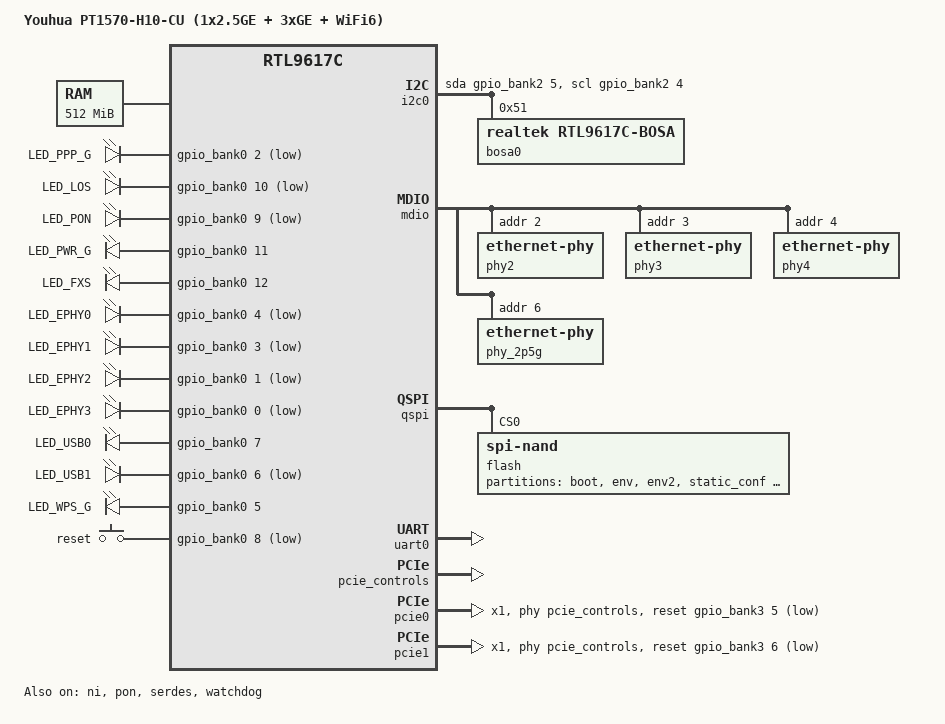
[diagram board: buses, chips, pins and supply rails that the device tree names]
// SPDX-License-Identifier: GPL-2.0-only
//
// PT1570-H10-CU（联通版，机型串 PT1570-H10-C）板级 DTS —— Taurus 基线（2026-11-21）。
//
// 本文件基于上游 lyq1996/rtl9617c-openwrt @refactor Taurus 基线的
// rtl9617c-pt1500-h10-2p5g.dts，按 OpenWrt / 上游规范重写，摒弃旧 base
// 的 rtl9617c-tyfza1-2p5g.dts include 与 tyfza1 私有覆盖模型。
//
// 硬件事实（2026-11-14/15 真机 telnet + 原厂 mtd4 内嵌 DTB 逐节点核对）：
//   * RTL9617C / 256 MiB SPI-NAND / 512 MiB DDR4
//   * 1x2.5GE + 3xGE LAN：外置 RTL8221B 2.5G PHY（MDIO addr6, C22 001cc849）
//   * 双 PCIe WiFi6： PCIe0 10ec:c852（8852C, 5G）/ PCIe1 10ec:0192（8192XB, 2.4G）
//   * XGPON（WAN PPPoE VLAN 1101）
//   * flash 分区与上游 2p5g 基线逐项一致
//
// ★ refactor 基线的两点规范变化（相对旧 base DTS）：
//   1) 节点命名：&ni（非 &ni0）、&gpio0 扁平化、P6 走独立 &serdes
//      （phy-rtl9617c-serdes.c）+ phy-mode=2500base-x + realtek,hisgmii；
//      上游已验证此架构 2.5G 可用，摒弃 base 的 realtek,hsgmii + /etc/serdes/*.txt。
//   2) factory：DTS 内 ubi-volume-factory 的 nvmem-layout 声明 MAC/SN/wifi-cal，
//      驱动直读；摒弃旧 tyfza1-factory 运行时脚本模型。
//
// ★ WiFi 是净投入（refactor 上游主动删了 rtl9617c 的整个 PCIe/WiFi 子系统）：
//   PCIe 控制器节点在本文件 &{/soc} 自建（照 base dtsi 逐项校验地址/serdes/复位脚），
//   驱动由 scripts/refactor/overlay-wifi-pcie.sh 回移植到规范位置（OOT，不换上游 Taurus PCIe）。
//   ★ 2026-11-21 跟进 Taurus：SoC 层切 rtk-taurus.dtsi + gpio_bank0/2/3；
//     PCIe/global_config 仍用回移植资产，避免上游新 pcie-taurus.c 需要全套 reset/serdes 绑定。
//   ⚠️ 实机验证点：&serdes（2.5G P6 lane）与 pcie_controls（PCIe lane0/1/2）
//      共用 lane-ctrl/reset/power 等寄存器窗口，两套驱动按 bit 操作不同 lane，
//      理论上可共存；若实机出现 2.5G 与 WiFi 互相干扰，按实施记录的可回退方案处理。

/dts-v1/;

#include "rtk-taurus.dtsi"
#include <dt-bindings/gpio/gpio.h>
#include <dt-bindings/input/linux-event-codes.h>

/ {
	model = "Youhua PT1570-H10-CU (1x2.5GE + 3xGE + WiFi6)";
	compatible = "youhua,pt1570-h10-cu", "realtek,rtl9617c";

	aliases {
		serial0 = &uart0;
		led-boot = &led_power;
		led-failsafe = &led_power;
		led-running = &led_power;
		led-upgrade = &led_power;
	};

	chosen {
		stdout-path = "serial0:115200n8";
		bootargs = "earlycon console=ttyS0,115200n8 loglevel=7 clk_ignore_unused";
		rootdisk = <&ubi_rootdisk>;
		// ⛔ 不写 root= 覆盖：刷入态挂根由内核 CONFIG_MTD_ROOTFS_ROOT_DEV + fitblk 完成。
	};

	memory@0 {
		device_type = "memory";
		reg = <0 0 0 0x20000000>;
	};

	reserved-memory {
		#address-cells = <2>;
		#size-cells = <2>;
		ranges;

		voip-vector@0 {
			reg = <0 0 0 0x1000>;
			no-map;
		};
		voip@2000000 {
			reg = <0 0x02000000 0 0x00300000>;
			no-map;
		};
		voip-ipc@2300000 {
			reg = <0 0x02300000 0 0x00100000>;
			no-map;
		};
		ddr-noncache@9000000 {
			reg = <0 0x09000000 0 0x01a50000>;
		};
		ddr-cache@bc48000 {
			reg = <0 0x0bc48000 0 0x10000>;
		};
		tz-smc@eeff000 {
			reg = <0 0x0eeff000 0 0x1000>;
			no-map;
		};
		tz@ffc0000 {
			reg = <0 0x0ffc0000 0 0x40000>;
		};
	};

	// 面板灯：逐脚取自联通原厂 mtd4 内嵌 DTB 的 rtk_gpio_led 节点，
	// 并与 U-Boot run#5 灯表同源。面板左→右：
	//   电源(11H) 注册(9L) 光信号(10L) [5G] [2.4G]
	//   千兆口4(0L) 千兆口3(1L) 千兆口2(3L) 2.5G口(4L)
	//   电话(12H) 宽带(2L) WPS(5H) USB(7H) USB1(6L)
	// 5G/2.4G/WPS 由 PCIe WiFi / 按钮驱动接管，固件不强行点灯。
	leds {
		compatible = "gpio-leds";

		internet {
			label = "LED_PPP_G";
			gpios = <&gpio_bank0 2 GPIO_ACTIVE_LOW>;
			default-state = "off";
		};
		los {
			label = "LED_LOS";
			gpios = <&gpio_bank0 10 GPIO_ACTIVE_LOW>;
		};
		pon {
			label = "LED_PON";
			gpios = <&gpio_bank0 9 GPIO_ACTIVE_LOW>;
		};
		led_power: power {
			label = "LED_PWR_G";
			gpios = <&gpio_bank0 11 GPIO_ACTIVE_HIGH>;
			default-state = "on";
		};
		phone {
			label = "LED_FXS";
			gpios = <&gpio_bank0 12 GPIO_ACTIVE_HIGH>;
		};
		lan0 {
			label = "LED_EPHY0";
			gpios = <&gpio_bank0 4 GPIO_ACTIVE_LOW>;   /* 2.5G 口，PHY 硬件驱动可长灭 */
		};
		lan1 {
			label = "LED_EPHY1";
			gpios = <&gpio_bank0 3 GPIO_ACTIVE_LOW>;   /* 千兆口2 */
		};
		lan2 {
			label = "LED_EPHY2";
			gpios = <&gpio_bank0 1 GPIO_ACTIVE_LOW>;   /* 千兆口3 */
		};
		lan3 {
			label = "LED_EPHY3";
			gpios = <&gpio_bank0 0 GPIO_ACTIVE_LOW>;   /* 千兆口4 */
		};
		usb0 {
			label = "LED_USB0";
			gpios = <&gpio_bank0 7 GPIO_ACTIVE_HIGH>;
			linux,default-trigger = "usbport";
		};
		usb1 {
			label = "LED_USB1";
			gpios = <&gpio_bank0 6 GPIO_ACTIVE_LOW>;
		};
		wps {
			label = "LED_WPS_G";
			gpios = <&gpio_bank0 5 GPIO_ACTIVE_HIGH>;
		};
	};

	gpio-keys {
		compatible = "gpio-keys";

		reset {
			label = "reset";
			linux,code = <KEY_RESTART>;
			gpios = <&gpio_bank0 8 GPIO_ACTIVE_LOW>;
			debounce-interval = <60>;
		};
	};
};

&gpio0 {
	status = "okay";
};

&i2c0 {
	status = "okay";
	scl-gpios = <&gpio_bank2 4 GPIO_ACTIVE_HIGH>;
	sda-gpios = <&gpio_bank2 5 GPIO_ACTIVE_HIGH>;

	bosa0: optical-front-end@51 {
		compatible = "realtek,rtl9617c-bosa";
		reg = <0x51>;
		nvmem-cells = <&bosa_calibration>;
		nvmem-cell-names = "calibration";
	};
};

&mdio {
	status = "okay";

	phy2: ethernet-phy@2 { reg = <2>; };
	phy3: ethernet-phy@3 { reg = <3>; };
	phy4: ethernet-phy@4 { reg = <4>; };

	// 外置 RTL8221B 2.5G PHY：MDIO addr6 C22。refactor 用 HisGMII +
	// serdes-option-mode=1（对齐上游 PT1500 已实机验证的 2.5G 正解架构）。
	phy_2p5g: ethernet-phy@6 {
		reg = <6>;
		realtek,hisgmii;
		realtek,serdes-option-mode = <1>;

		leds {
			#address-cells = <1>;
			#size-cells = <0>;

			led@0 {
				reg = <0>;
				label = "LED_8221B_P6_0";
				default-state = "on";
			};
			led@1 {
				reg = <1>;
				label = "LED_8221B_P6_1";
				default-state = "on";
			};
			led@2 {
				reg = <2>;
				label = "LED_8221B_P6_2";
				default-state = "on";
			};
		};
	};
};

&ni {
	nvmem-cells = <&base_mac 0>;
	nvmem-cell-names = "mac-address";
	status = "okay";

	ethernet-ports {
		port@1 {
			reg = <1>;
			label = "lan2";
			phy-mode = "internal";
			phy-handle = <&phy2>;
		};
		port@2 {
			reg = <2>;
			label = "lan3";
			phy-mode = "internal";
			phy-handle = <&phy3>;
		};
		port@3 {
			reg = <3>;
			label = "lan4";
			phy-mode = "internal";
			phy-handle = <&phy4>;
		};
		// P6 XGE MAC = 2.5G 口（netdev lan1），独立 serdes PHY。
		port@6 {
			reg = <6>;
			label = "lan1";
			phy-mode = "2500base-x";
			phy-handle = <&phy_2p5g>;
			phys = <&serdes>;
		};
	};
};

&pon {
	status = "okay";
	nvmem-cells = <&epon_mac 0>, <&pon_sn>;
	nvmem-cell-names = "mac-address", "pon-serial";
	realtek,optical-front-end = <&bosa0>;
	tx-disable-gpios = <&gpio_bank0 15 GPIO_ACTIVE_HIGH>;
	realtek,burst-polarity = <0>;
	realtek,los-invert = <0>;
	realtek,uni-ports = /bits/ 8 <3 2 1 0>;
};

&qspi {
	status = "okay";

	flash@0 {
		compatible = "spi-nand";
		reg = <0>;
		spi-tx-bus-width = <1>;
		spi-rx-bus-width = <4>;

		partitions {
			compatible = "fixed-partitions";
			#address-cells = <1>;
			#size-cells = <1>;

			partition@0 {
				label = "boot";
				reg = <0x0 0x200000>;
				read-only;
			};
			partition@280000 {
				label = "env";
				reg = <0x280000 0x40000>;
			};
			partition@2c0000 {
				label = "env2";
				reg = <0x2c0000 0x40000>;
			};
			partition@300000 {
				label = "static_conf";
				reg = <0x300000 0x40000>;
			};

			ubi_partition: partition@340000 {
				label = "ubi_device";
				reg = <0x340000 0xf5c0000>;
				compatible = "linux,ubi";
				// ⛔ 不可 read-only：否则 UBI 只读 attach、rootfs_data 建不出
				// overlay，sysupgrade 刷入态黑砖（旧 CU 第二版实测踩过）。
				// refactor 上游 dtsi 已不给 ubi 分区标 read-only，无需覆盖。

				volumes {
					ubi_rootdisk: ubi-volume-fit {
						volname = "fit";
					};

					ubi_factory: ubi-volume-factory {
						volname = "factory";

						nvmem-layout {
							compatible = "fixed-layout";
							#address-cells = <1>;
							#size-cells = <1>;

							base_mac: mac-address@1000 {
								compatible = "mac-base";
								reg = <0x1000 0x6>;
								#nvmem-cell-cells = <1>;
							};

							mac_count: mac-count@1006 {
								reg = <0x1006 0x4>;
							};

							epon_mac: mac-address@1010 {
								compatible = "mac-base";
								reg = <0x1010 0x6>;
								#nvmem-cell-cells = <1>;
							};

							pon_sn: pon-serial@1020 {
								reg = <0x1020 0x10>;
							};

							device_sn: device-serial@1030 {
								reg = <0x1030 0x20>;
							};

							wifi_cal_radio0: wifi-calibration@2000 {
								reg = <0x2000 0x1000>;
							};

							wifi_cal_radio1: wifi-calibration@3000 {
								reg = <0x3000 0x1000>;
							};

							bosa_calibration: bosa-calibration@4000 {
								reg = <0x4000 0x400>;
							};

							bosa_olt_calibration: olt-calibration@4800 {
								reg = <0x4800 0x400>;
							};

							xtemp_calibration: xtemp-calibration@5000 {
								reg = <0x5000 0x1000>;
							};
						};
					};
				};
			};
		};
	};
};

&serdes {
	status = "okay";
};

&uart0 {
	status = "okay";
};

&watchdog {
	reset-on-timeout;
	delay-reset = <134>;
	status = "okay";
};

// ---------------------------------------------------------------------------
// PCIe 控制器（WiFi 回移植）—— refactor dtsi 无 PCIe 节点，照 base dtsi
// 的 rtl9617c-tyfza1.dtsi 逐项重建。pcie_controls 的 reg 全保留（驱动按
// by-name ioremap，缺项会 probe 失败）；与 &serdes 重叠的 lane 控制寄存器
// 由两套驱动按 bit 操作不同 lane，实机验证共存性。
// ---------------------------------------------------------------------------
&{/soc} {
	// Taurus dtsi 删除了 rtl9617c 的 global_config syscon；
	// 我们回移植的 OOT PCIe PHY（phy-rtl9617c-pcie.c）仍按 phandle 读取它，补回。
	global_config: syscon@f43200c0 {
		compatible = "realtek,rtl9617c-global-config", "syscon";
		reg = <0 0xf43200c0 0 4>;
	};
	pcie_controls: pcie-controls@f4320098 {
		compatible = "realtek,rtl9617c-pcie-controls";
		reg = <0 0xf4320098 0 4>, <0 0xf43200a0 0 4>,
		      <0 0xf43200c4 0 0x14>, <0 0xf432036c 0 4>, <0 0xf432009c 0 4>,
		      <4 0xf433b000 0 0x1000>, <0 0xf4600000 0 0x1000>;
		reg-names = "core-reset", "phy-reset", "phy-control", "power", "usb-reset",
		            "sgmii-analog", "sgmii-serdes";
		realtek,global-config = <&global_config>;
		#clock-cells = <1>;
		#reset-cells = <1>;
		#phy-cells = <1>;
	};

	pcie0: pcie@f4325000 {
		status = "okay";
		compatible = "realtek,rtl9617c-pcie";
		reg = <0 0xf4325000 0 0x400>,
		      <0 0xa0000000 0 0x1000>,
		      <0 0xa0001000 0 0x2000>,
		      <0 0xa0300000 0 0x100000>,
		      <0 0xf4333000 0 0x2000>,
		      <0x0 0xf432c000 0x0 0x1c>;
		reg-names = "global", "dbi", "config", "atu", "serdes", "coherent-atu";
		device_type = "pci";
		#address-cells = <3>;
		#size-cells = <2>;
		bus-range = <0 255>;
		linux,pci-domain = <0>;
		ranges = <0x81000000 0x0 0x0 0x0 0xa0003000 0x0 0x10000 0x82000000 0x0 0xa0400000 0x0 0xa0400000 0x0 0xfc00000>;
		dma-ranges = <0x02000000 0 0 0 0 0 0x20000000>;
		dma-coherent;
		interrupts = <0 42 4>;
		interrupt-names = "wrapper";
		#interrupt-cells = <1>;
		interrupt-map-mask = <0 0 0 7>;
		interrupt-map = <0 0 0 1 &pcie0_intc 0>,
		                <0 0 0 2 &pcie0_intc 1>,
		                <0 0 0 3 &pcie0_intc 2>,
		                <0 0 0 4 &pcie0_intc 3>;
		clocks = <&pcie_controls 0>;
		resets = <&pcie_controls 0>, <&pcie_controls 2>;
		reset-names = "core", "phy";
		phys = <&pcie_controls 0>;
		phy-names = "pcie";
		reset-gpios = <&gpio_bank3 5 1>;
		reset-delay-ms = <150>;
		num-lanes = <1>;
		realtek,controller-index = <0>;
		realtek,ddr-bytes = <0x20000000>;
		realtek,coherent-hi-addr = <4>;

		realtek,serdes-profile = "B";
		serdes-cfg-dataA = <
		 0x4 0xa855 0x18 0xa 0x20 0x3591 0x28 0x8670
		 0x2c 0xb90d 0x34 0xf71a 0x38 0x1000 0x74 0xda1f
		 0x80 0xd477 0x88 0x23 0x8c 0xb66 0x90 0x4f30
		 0xa0 0xf802 0xc0 0x55 0x24 0x500c 0x24 0x520c
		 0x104 0xa84a 0x118 0xa 0x120 0x3591 0x128 0x8650
		 0x12c 0xb90d 0x134 0xf71a 0x138 0x1000 0x174 0xda1f
		 0x180 0xd477 0x184 0x55aa 0x188 0x23 0x18c 0xb66
		 0x1a0 0xf802 0x1bc 0x3900 0x1c0 0x4a 0x124 0x500c
		 0x124 0x520c
		>;
		serdes-cfg-dataB = <
		 0x4 0xa855 0x8 0x60c6 0x18 0x1f 0x20 0x3591
		 0x28 0xf670 0x2c 0xa90d 0x34 0xf71a 0x38 0x1000
		 0x74 0xda1f 0x80 0xd477 0x88 0x23 0x8c 0xb66
		 0x90 0x4f30 0xa0 0xf802 0xc0 0x55 0xc8 0xf0f3
		 0x24 0x500c 0x24 0x520c 0x104 0xa84a 0x108 0x60c6
		 0x118 0x1f 0x120 0x3591 0x128 0xf670 0x12c 0xa90d
		 0x134 0xf71a 0x138 0x1000 0x174 0xda1f 0x180 0xd479
		 0x184 0x55aa 0x188 0x23 0x18c 0xb66 0x190 0x4f0c
		 0x1a0 0xf802 0x1bc 0x3900 0x1c0 0x4a 0x1c8 0xf0f3
		 0x124 0x500c 0x124 0x520c
		>;
		pcie0_intc: interrupt-controller {
			interrupt-controller;
			#address-cells = <0>;
			#interrupt-cells = <1>;
		};
	};

	pcie1: pcie@f4326000 {
		status = "okay";
		compatible = "realtek,rtl9617c-pcie";
		reg = <0 0xf4326000 0 0x400>,
		      <0 0xb0000000 0 0x1000>,
		      <0 0xb0001000 0 0x2000>,
		      <0 0xb0300000 0 0x100000>,
		      <0 0xf4335000 0 0x2000>,
		      <0x0 0xf432c100 0x0 0x1c>;
		reg-names = "global", "dbi", "config", "atu", "serdes", "coherent-atu";
		device_type = "pci";
		#address-cells = <3>;
		#size-cells = <2>;
		bus-range = <0 255>;
		linux,pci-domain = <1>;
		ranges = <0x81000000 0x0 0x0 0x0 0xb0003000 0x0 0x10000 0x82000000 0x0 0xb0400000 0x0 0xb0400000 0x0 0xfc00000>;
		dma-ranges = <0x02000000 0 0 0 0 0 0x20000000>;
		dma-coherent;
		interrupts = <0 46 4>;
		interrupt-names = "wrapper";
		#interrupt-cells = <1>;
		interrupt-map-mask = <0 0 0 7>;
		interrupt-map = <0 0 0 1 &pcie1_intc 0>,
		                <0 0 0 2 &pcie1_intc 1>,
		                <0 0 0 3 &pcie1_intc 2>,
		                <0 0 0 4 &pcie1_intc 3>;
		clocks = <&pcie_controls 1>;
		resets = <&pcie_controls 1>, <&pcie_controls 3>;
		reset-names = "core", "phy";
		phys = <&pcie_controls 2>;
		phy-names = "pcie";
		reset-gpios = <&gpio_bank3 6 1>;
		reset-delay-ms = <50>;
		num-lanes = <1>;
		realtek,controller-index = <1>;
		realtek,ddr-bytes = <0x20000000>;
		realtek,coherent-hi-addr = <4>;

		realtek,serdes-profile = "B";
		serdes-cfg-dataA = <
		 0x4 0xa855 0x18 0xa 0x20 0x3591 0x28 0x8670
		 0x2c 0xb90d 0x34 0xf71a 0x38 0x1000 0x74 0xda1f
		 0x80 0xd477 0x88 0x23 0x8c 0xb66 0x90 0x4f30
		 0xa0 0xf802 0xc0 0x55 0x24 0x500c 0x24 0x520c
		 0x104 0xa84a 0x118 0xa 0x120 0x3591 0x128 0x8650
		 0x12c 0xb90d 0x134 0xf71a 0x138 0x1000 0x174 0xda1f
		 0x180 0xd477 0x184 0x55aa 0x188 0x23 0x18c 0xb66
		 0x1a0 0xf802 0x1bc 0x3900 0x1c0 0x4a 0x124 0x500c
		 0x124 0x520c
		>;
		serdes-cfg-dataB = <
		 0x4 0xa855 0x8 0x60c6 0x18 0x1f 0x20 0x3591
		 0x28 0xf670 0x2c 0xa90d 0x34 0xf71a 0x38 0x1000
		 0x74 0xda1f 0x80 0xd477 0x88 0x23 0x8c 0xb66
		 0x90 0x4f30 0xa0 0xf802 0xc0 0x55 0xc8 0xf0f3
		 0x24 0x500c 0x24 0x520c 0x104 0xa84a 0x108 0x60c6
		 0x118 0x1f 0x120 0x3591 0x128 0xf670 0x12c 0xa90d
		 0x134 0xf71a 0x138 0x1000 0x174 0xda1f 0x180 0xd479
		 0x184 0x55aa 0x188 0x23 0x18c 0xb66 0x190 0x4f0c
		 0x1a0 0xf802 0x1bc 0x3900 0x1c0 0x4a 0x1c8 0xf0f3
		 0x124 0x500c 0x124 0x520c
		>;
		pcie1_intc: interrupt-controller {
			interrupt-controller;
			#address-cells = <0>;
			#interrupt-cells = <1>;
		};
	};
};
